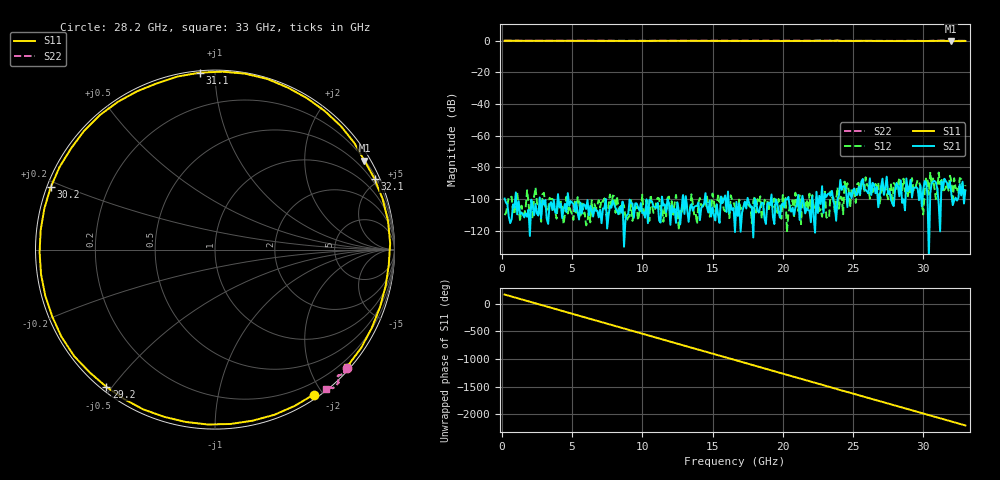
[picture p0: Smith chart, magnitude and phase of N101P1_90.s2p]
# GHZ S RI R 50
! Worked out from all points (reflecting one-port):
!   329 points, 200 MHz to 33 GHz, reference 50 ohm
!   lowest |S11| = -0.3 dB at 32 GHz (marker M1), VSWR 63.03, Z = 11.3 + j181 ohm
!   phase of S11 starts at 165 deg and turns -2367 deg over the sweep
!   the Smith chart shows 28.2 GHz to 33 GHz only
!   S11 on the Smith chart (normalised r, x): 28.2 GHz: 0.05, -1.89; 29.2 GHz: 0.02, -0.48; 30.2 GHz: 0.01, +0.18; 31.1 GHz: 0.01, +0.92; 32.1 GHz: 0.32, +4.70; 33 GHz: 0.07, -2.64
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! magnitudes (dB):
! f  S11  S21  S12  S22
! 200 MHz  0.0  -99.7  -110.2  0.0
! 5.7 GHz  -0.1  -109.1  -101.5  0.0
! 8.9 GHz  -0.2  -110.3  -113.8  0.0
! 11.2 GHz  -0.1  -113.6  -99.8  0.0
! 16.6 GHz  -0.2  -120.9  -105.0  0.0
! 22.1 GHz  -0.2  -98.2  -97.5  0.0
! 22.6 GHz  -0.1  -98.0  -107.6  0.2
! 23 GHz  -0.2  -96.6  -94.6  0.0
! 23.3 GHz  -0.2  -96.4  -111.9  0.1
! 23.9 GHz  0.1  -100.0  -92.7  0.1
! 24.2 GHz  -0.2  -94.2  -99.1  0.0
! 24.9 GHz  -0.2  -99.5  -93.4  0.0
! 25.5 GHz  0.0  -97.1  -97.7  -0.1
! 27.6 GHz  -0.2  -95.2  -94.9  -0.1
! 28.2 GHz  -0.2  -92.1  -90.9  -0.1
! 29.2 GHz  -0.2  -99.1  -86.9  -0.1
! 30.2 GHz  -0.2  -89.3  -86.4  -0.2
! 31.1 GHz  -0.1  -102.9  -83.3  0.0
! 31.8 GHz  -0.2  -93.2  -94.7  0.1
! 32 GHz  -0.3  -96.5  -88.3  0.0
! 32.1 GHz  -0.2  -103.9  -103.2  0.0
! 33 GHz  -0.1  -94.6  -91.3  -0.1
